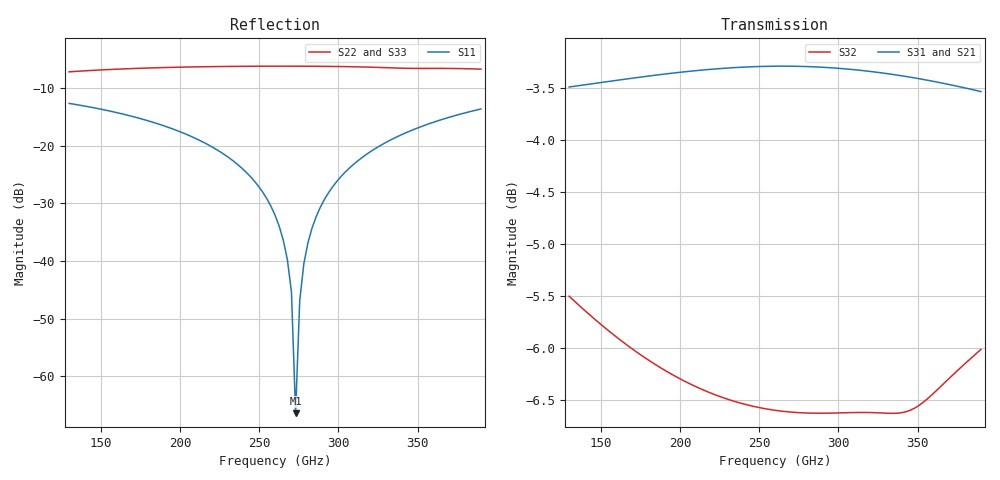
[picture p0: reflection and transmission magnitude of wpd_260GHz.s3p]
#  GHZ S DB R 50
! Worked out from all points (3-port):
!   101 points, 130 GHz to 390 GHz, reference 50 ohm
!   strongest paths, dB at 130 GHz, 195 GHz, 260 GHz, 325 GHz, 390 GHz:
!     S31: -3.5, -3.4, -3.3, -3.4, -3.5
!     S21: -3.5, -3.4, -3.3, -3.4, -3.5
!     S32: -5.5, -6.3, -6.6, -6.6, -6.0
!   lowest |S11| = -66.5 dB at 273 GHz (marker M1), VSWR 1.00, Z = 50 + j0.0422 ohm
!   |S11| at or under -10 dB: start of sweep to end of sweep
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130  -12.67 135.4  -3.50 -43.4  -3.49 -43.4
     -3.50 -43.4  -7.19 53.8  -5.50 -95.7
     -3.49 -43.4  -5.50 -95.7  -7.19 53.7
218.4  -19.93 104.8  -3.33 -74.2  -3.32 -74.3
       -3.33 -74.2  -6.29 11.9  -6.42 -151.2
       -3.32 -74.3  -6.42 -151.2  -6.30 11.8
260  -32.05 89.7  -3.30 -89.1  -3.29 -89.2
     -3.30 -89.1  -6.21 -3.9  -6.60 -176.5
     -3.29 -89.2  -6.60 -176.5  -6.21 -4.1
270.4  -45.41 84.4  -3.30 -92.9  -3.29 -93.0
       -3.30 -92.9  -6.21 -7.8  -6.61 177.1
       -3.29 -93.0  -6.61 177.1  -6.21 -7.9
273  -66.45 62.3  -3.30 -93.8  -3.29 -93.9
     -3.30 -93.8  -6.21 -8.7  -6.62 175.5
     -3.29 -93.9  -6.62 175.5  -6.22 -8.9
275.6  -46.95 -93.1  -3.30 -94.8  -3.30 -94.8
       -3.30 -94.8  -6.21 -9.7  -6.62 174.0
       -3.30 -94.8  -6.62 174.0  -6.22 -9.8
278.2  -40.51 -95.2  -3.30 -95.7  -3.30 -95.8
       -3.30 -95.7  -6.21 -10.6  -6.62 172.4
       -3.30 -95.8  -6.62 172.4  -6.22 -10.8
291.2  -29.34 -100.7  -3.31 -100.4  -3.31 -100.5
       -3.31 -100.4  -6.24 -15.4  -6.62 164.4
       -3.31 -100.5  -6.62 164.4  -6.24 -15.6
327.6  -19.81 -113.9  -3.36 -113.5  -3.36 -113.6
       -3.36 -113.5  -6.44 -28.8  -6.62 142.1
       -3.36 -113.6  -6.62 142.1  -6.45 -29.1
390  -13.64 -135.8  -3.54 -135.7  -3.54 -135.9
     -3.54 -135.7  -6.72 -53.6  -6.01 104.4
     -3.54 -135.9  -6.01 104.4  -6.73 -53.9
